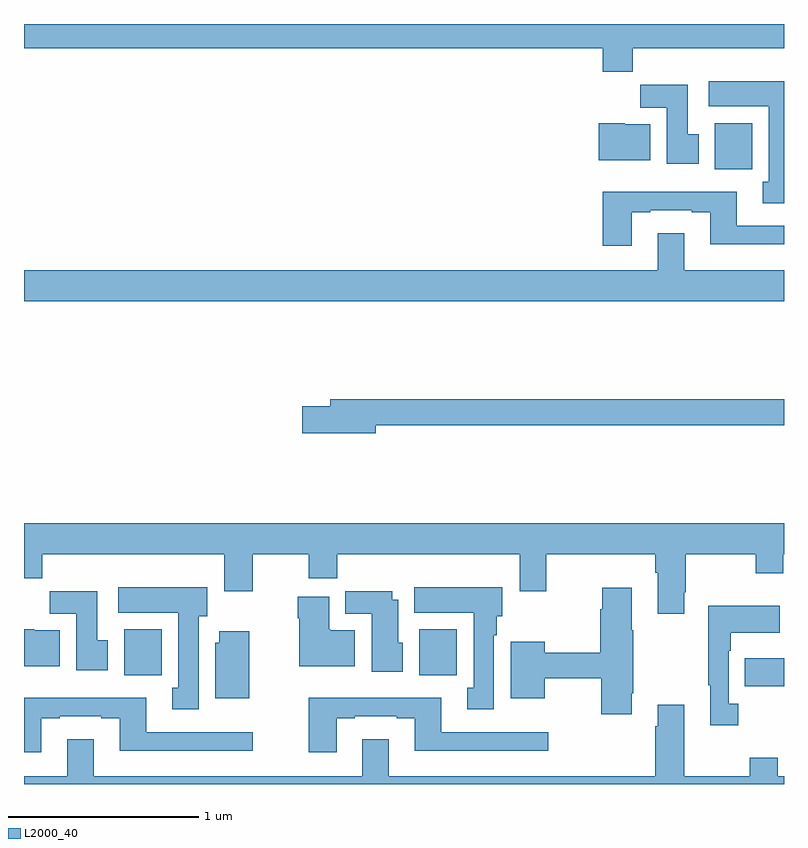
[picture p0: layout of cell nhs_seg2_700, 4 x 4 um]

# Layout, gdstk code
import gdstk
lib = gdstk.Library(unit=1e-6, precision=1e-09)
def R(c, l, rs):  # rectangles x0, y0, x1, y1
    for r in rs: c.add(gdstk.rectangle(r[:2], r[2:], *l))
def P(c, l, *ps):  # polygons
    for p in ps: c.add(gdstk.Polygon(p, *l))
L2000_40 = (2000, 40)

nhs_seg2_700 = lib.new_cell('nhs_seg2_700')
R(nhs_seg2_700, L2000_40, [(150.793,608.314,151,608.461), (147.527,608.372,147.724,608.614), (149.081,608.372,149.278,608.614), (150.635,611.036,150.832,611.278)])
P(nhs_seg2_700, L2000_40, [(150.203,611.672),(151,611.672),(151,611.8),(147,611.8),(147,611.672),(150.047,611.672),(150.047,611.548),(150.203,611.548)],
  [(151,611.5),(150.603,611.5),(150.603,611.366),(150.92,611.366),(150.92,610.97),(150.887,610.97),(150.887,610.857),(151,610.857)],
  [(150.55,611.22),(150.493,611.22),(150.493,611.479),(150.244,611.479),(150.244,611.36),(150.383,611.36),(150.383,611.064),(150.55,611.064)],
  [(150.295,611.272),(150.162,611.272),(150.162,611.278),(150.026,611.278),(150.026,611.084),(150.295,611.084)],
  [(150.199,610.809),(150.295,610.809),(150.295,610.821),(150.515,610.821),(150.515,610.809),(150.611,610.809),(150.611,610.64),(151,610.64),(151,610.737),(150.751,610.737),(150.751,610.918),(150.047,610.918),(150.047,610.632),(150.199,610.632)],
  [(151,610.504),(150.475,610.504),(150.475,610.699),(150.335,610.699),(150.335,610.504),(147,610.504),(147,610.34),(151,610.34)],
  [(148.852,609.688),(151,609.688),(151,609.824),(148.613,609.824),(148.613,609.788),(148.464,609.788),(148.464,609.646),(148.852,609.646)],
  [(150.475,608.809),(150.483,608.809),(150.483,609.008),(150.85,609.008),(150.85,608.909),(150.996,608.909),(150.996,609.008),(151,609.008),(151,609.172),(147,609.172),(147,608.884),(147.095,608.884),(147.095,609.008),(148.055,609.008),(148.055,608.814),(148.203,608.814),(148.203,609.008),(148.498,609.008),(148.498,608.884),(148.649,608.884),(148.649,609.008),(149.609,609.008),(149.609,608.814),(149.749,608.814),(149.749,609.008),(150.323,609.008),(150.323,608.912),(150.335,608.912),(150.335,608.697),(150.475,608.697)],
  [(149.473,608.582),(149.488,608.582),(149.488,608.682),(149.518,608.682),(149.518,608.836),(149.054,608.836),(149.054,608.702),(149.366,608.702),(149.366,608.306),(149.333,608.306),(149.333,608.193),(149.473,608.193)],
  [(147.919,608.682),(147.964,608.682),(147.964,608.836),(147.495,608.836),(147.495,608.702),(147.812,608.702),(147.812,608.306),(147.779,608.306),(147.779,608.193),(147.919,608.193)],
  [(150.199,608.278),(150.207,608.278),(150.207,608.609),(150.199,608.609),(150.199,608.833),(150.044,608.833),(150.044,608.72),(150.032,608.72),(150.032,608.492),(149.74,608.492),(149.74,608.548),(149.561,608.548),(149.561,608.252),(149.74,608.252),(149.74,608.356),(150.037,608.356),(150.037,608.166),(150.199,608.166)],
  [(147.442,608.556),(147.385,608.556),(147.385,608.815),(147.136,608.815),(147.136,608.696),(147.275,608.696),(147.275,608.4),(147.442,608.4)],
  [(148.993,608.544),(148.969,608.544),(148.969,608.77),(148.939,608.77),(148.939,608.814),(148.691,608.814),(148.691,608.696),(148.829,608.696),(148.829,608.39),(148.993,608.39)],
  [(148.741,608.608),(148.612,608.608),(148.612,608.614),(148.606,608.614),(148.606,608.785),(148.441,608.785),(148.441,608.672),(148.448,608.672),(148.448,608.42),(148.741,608.42)],
  [(150.76,608.222),(150.708,608.222),(150.708,608.501),(150.721,608.501),(150.721,608.597),(150.977,608.597),(150.977,608.737),(150.6,608.737),(150.6,608.321),(150.611,608.321),(150.611,608.109),(150.76,608.109)],
  [(147.187,608.608),(147.054,608.608),(147.054,608.614),(147,608.614),(147,608.42),(147.187,608.42)],
  [(148.186,608.605),(148.028,608.605),(148.028,608.544),(148.007,608.544),(148.007,608.252),(148.186,608.252)],
  [(148.645,608.145),(148.741,608.145),(148.741,608.157),(148.961,608.157),(148.961,608.145),(149.057,608.145),(149.057,607.976),(149.758,607.976),(149.758,608.073),(149.197,608.073),(149.197,608.254),(148.498,608.254),(148.498,607.968),(148.645,607.968)],
  [(147.091,608.145),(147.187,608.145),(147.187,608.157),(147.407,608.157),(147.407,608.145),(147.503,608.145),(147.503,607.976),(148.204,607.976),(148.204,608.073),(147.643,608.073),(147.643,608.254),(147,608.254),(147,607.968),(147.091,607.968)],
  [(151,607.84),(150.967,607.84),(150.967,607.939),(150.82,607.939),(150.82,607.84),(150.475,607.84),(150.475,608.218),(150.335,608.218),(150.335,608.105),(150.323,608.105),(150.323,607.84),(148.921,607.84),(148.921,608.035),(148.781,608.035),(148.781,607.84),(147.367,607.84),(147.367,608.035),(147.227,608.035),(147.227,607.84),(147,607.84),(147,607.8),(151,607.8)])

lib.write_gds('nhs_seg2_700.gds')
